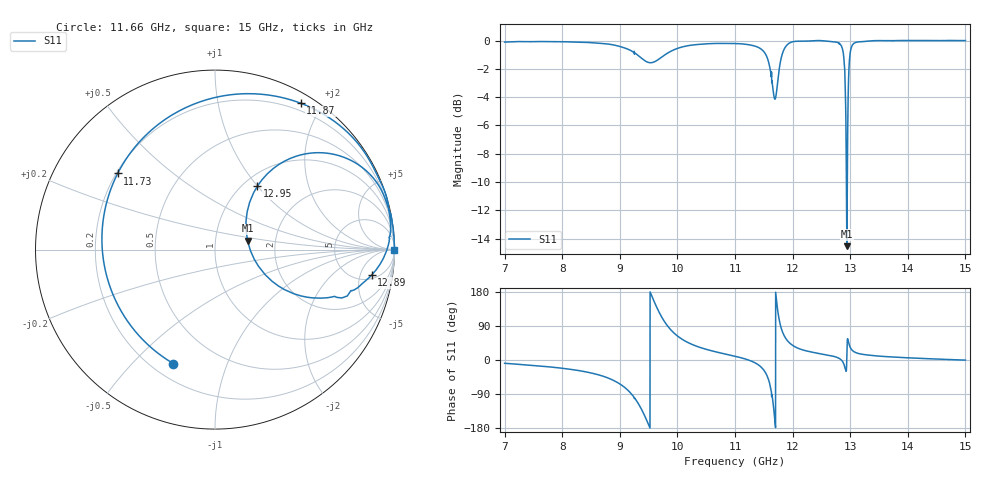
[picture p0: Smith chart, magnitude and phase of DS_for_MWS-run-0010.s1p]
! TOUCHSTONE file generated by CST DESIGN STUDIO
! Date and time: Mon Feb 10 16:45:32 2025
! Project name: C:\Work\MatlabApps\UnitCellType2OptimizationMatlab\CST\unitcell.cst
! Tree item: Tasks\Sweep1\SPara1\S-Parameters
! Header version: 2024
! Port assignment regex: !\s*Touchstone port\s*([0-9]+)\s*=\s*(CST MWS port|CST DES external port|CST DES block port)\s*(.+)\s* \(\"(.*)\"\)(\s*mode\s*([0-9]+))?.*
! Touchstone port assignment:
! Touchstone port 1 = CST DES external port 1 ("")
# GHz S MA R 50
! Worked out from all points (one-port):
!   4001 points, 7 GHz to 15 GHz, reference 50 ohm
!   lowest |S11| = -14.5 dB at 12.94 GHz (marker M1), VSWR 1.46, Z = 71.7 + j7.32 ohm
!   |S11| at or under -10 dB: 12.93389 GHz to 12.94963 GHz (15.74 MHz wide, 0.122 % of centre)
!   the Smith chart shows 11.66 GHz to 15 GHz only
!   S11 on the Smith chart (normalised r, x): 11.66 GHz: 0.28, -0.66; 11.73 GHz: 0.21, +0.33; 11.87 GHz: 0.11, +1.74; 12.89 GHz: 6.01, -7.82; 12.95 GHz: 1.16, +1.00; 15 GHz: open
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7  0.9873 -8.7
8  0.9902 -21.8
8.636  0.9779 -39.4
9  0.9527 -63.1
9.302  0.8912 -110.2
9.406  0.8566 -138.9
9.524  0.8349 -179.5
9.734  0.8758 111.6
10  0.9377 63.5
10.364  0.9687 34.6
11  0.9758 9.9
11.308  0.9601 -4.5
11.492  0.9178 -25.0
11.58  0.8441 -50.9
11.658  0.6759 -110.1
11.698  0.6217 -168.7
11.732  0.6884 142.0
11.788  0.8404 92.1
11.87  0.945 59.7
12  0.9897 38.7
12.728  0.9894 9.0
12.886  0.8842 -9.2
12.942  0.1879 15.2
12.954  0.4246 56.3
13  0.9046 33.4
13.138  0.9884 17.4
14  0.9991 5.8
15  0.9997 -0.3
